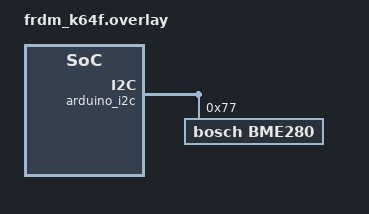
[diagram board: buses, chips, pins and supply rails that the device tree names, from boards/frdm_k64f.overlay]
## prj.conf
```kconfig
CONFIG_SENSOR=y
CONFIG_SENSOR_ASYNC_API=y
CONFIG_CBPRINTF_FP_SUPPORT=y
```

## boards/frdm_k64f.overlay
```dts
/*
 * Copyright (c) 2023 Intel
 *
 * SPDX-License-Identifier: Apache-2.0
 */

 / {
	aliases {
		dht0 = &bme280;
	};
};

 &arduino_i2c {
	status = "okay";

	bme280: bme280@77 {
		compatible = "bosch,bme280";
		status = "okay";
		reg  = <0x77>;
		};
};
```

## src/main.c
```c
/*
 * Copyright (c) 2012-2014 Wind River Systems, Inc.
 * Copyright (c) 2021 Nordic Semiconductor ASA
 *
 * SPDX-License-Identifier: Apache-2.0
 */

#include <zephyr/kernel.h>
#include <zephyr/device.h>
#include <zephyr/devicetree.h>
#include <zephyr/drivers/sensor.h>
#include <zephyr/drivers/sensor_data_types.h>
#include <zephyr/rtio/rtio.h>
#include <zephyr/dsp/print_format.h>

/*
 * Get a device structure from a devicetree node with compatible
 * "bosch,bme280". (If there are multiple, just pick one.)
 *
 * TODO: Won't work as expected with multiple BME280 devices.
 */
const struct device *const dev = DEVICE_DT_GET_ANY(bosch_bme280);

SENSOR_DT_READ_IODEV(iodev, DT_COMPAT_GET_ANY_STATUS_OKAY(bosch_bme280),
		{SENSOR_CHAN_AMBIENT_TEMP, 0},
		{SENSOR_CHAN_HUMIDITY, 0},
		{SENSOR_CHAN_PRESS, 0});

RTIO_DEFINE(ctx, 1, 1);

static const struct device *check_bme280_device(void)
{
	if (dev == NULL) {
		/* No such node, or the node does not have status "okay". */
		printk("\nError: no device found.\n");
		return NULL;
	}

	if (!device_is_ready(dev)) {
		printk("\nError: Device \"%s\" is not ready; "
		       "check the driver initialization logs for errors.\n",
		       dev->name);
		return NULL;
	}

	printk("Found device \"%s\", getting sensor data\n", dev->name);
	return dev;
}

int main(void)
{
	const struct device *dev = check_bme280_device();

	if (dev == NULL) {
		return 0;
	}

	while (1) {
		uint8_t buf[128];

		int rc = sensor_read(&iodev, &ctx, buf, 128);

		if (rc != 0) {
			printk("%s: sensor_read() failed: %d\n", dev->name, rc);
			return rc;
		}

		const struct sensor_decoder_api *decoder;

		rc = sensor_get_decoder(dev, &decoder);

		if (rc != 0) {
			printk("%s: sensor_get_decode() failed: %d\n", dev->name, rc);
			return rc;
		}

		uint32_t temp_fit = 0;
		uint8_t temp_buf[64];

		decoder->decode(buf,
			(struct sensor_chan_spec) {SENSOR_CHAN_AMBIENT_TEMP, 0},
			&temp_fit, 1, temp_buf);

		struct sensor_q31_data *temp_data =
				(struct sensor_q31_data *) temp_buf;

		uint32_t press_fit = 0;
		uint8_t press_buf[64];

		decoder->decode(buf,
				(struct sensor_chan_spec) {SENSOR_CHAN_PRESS, 0},
				&press_fit, 1, press_buf);

		struct sensor_q31_data *press_data =
				(struct sensor_q31_data *) press_buf;

		uint32_t hum_fit = 0;
		uint8_t hum_buf[64];

		decoder->decode(buf,
				(struct sensor_chan_spec) {SENSOR_CHAN_HUMIDITY, 0},
				&hum_fit, 1, hum_buf);

		struct sensor_q31_data *hum_data =
				(struct sensor_q31_data *) hum_buf;

		printk("temp: %s%d.%d; press: %s%d.%d; humidity: %s%d.%d\n",
			PRIq_arg(temp_data->readings[0].temperature, 6, temp_data->shift),
			PRIq_arg(press_data->readings[0].pressure, 6, press_data->shift),
			PRIq_arg(hum_data->readings[0].humidity, 6, hum_data->shift));

		k_sleep(K_MSEC(1000));
	}
	return 0;
}
```
